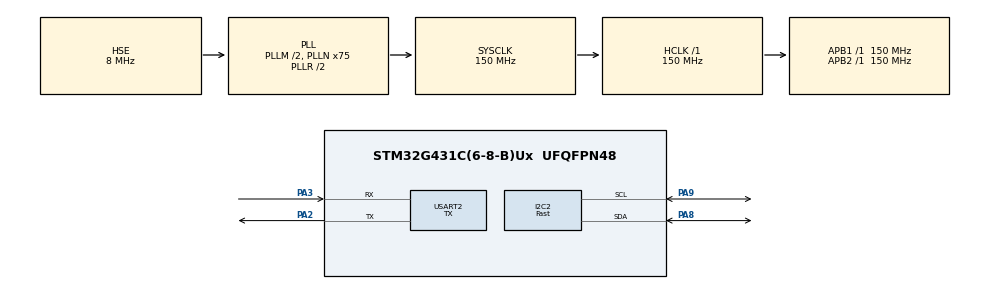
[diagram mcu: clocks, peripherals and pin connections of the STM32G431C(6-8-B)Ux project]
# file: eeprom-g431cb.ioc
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I2C2.I2C_Speed_Mode=I2C_Fast
I2C2.Timing=0x00E063FF
Mcu.Family=STM32G4
Mcu.Name=STM32G431C(6-8-B)Ux
Mcu.Package=UFQFPN48
NVIC.PriorityGroup=NVIC_PRIORITYGROUP_4
PA13.Mode=Serial_Wire
PA13.Signal=SYS_JTMS-SWDIO
PA14.Mode=Serial_Wire
PA14.Signal=SYS_JTCK-SWCLK
PA2.Mode=Asynchronous
PA2.Signal=USART2_TX
PA3.Mode=Asynchronous
PA3.Signal=USART2_RX
PA8.Mode=I2C
PA8.Signal=I2C2_SDA
PA9.Mode=I2C
PA9.Signal=I2C2_SCL
PC14-OSC32_IN.Mode=LSE-External-Oscillator
PC14-OSC32_IN.Signal=RCC_OSC32_IN
PC15-OSC32_OUT.Mode=LSE-External-Oscillator
PC15-OSC32_OUT.Signal=RCC_OSC32_OUT
PF0-OSC_IN.Mode=HSE-External-Oscillator
PF0-OSC_IN.Signal=RCC_OSC_IN
PF1-OSC_OUT.Mode=HSE-External-Oscillator
PF1-OSC_OUT.Signal=RCC_OSC_OUT
ProjectManager.HeapSize=0x200
ProjectManager.StackSize=0x400
ProjectManager.TargetToolchain=STM32CubeIDE
RCC.ADC12Freq_Value=150000000
RCC.AHBFreq_Value=150000000
RCC.APB1Freq_Value=150000000
RCC.APB1TimFreq_Value=150000000
RCC.APB2Freq_Value=150000000
RCC.APB2TimFreq_Value=150000000
RCC.CortexFreq_Value=150000000
RCC.EXTERNAL_CLOCK_VALUE=12288000
RCC.HCLKFreq_Value=150000000
RCC.HSE_VALUE=8000000
RCC.HSI48_VALUE=48000000
RCC.HSI_VALUE=16000000
RCC.PLLM=RCC_PLLM_DIV2
RCC.PLLN=75
RCC.PLLSourceVirtual=RCC_PLLSOURCE_HSE
RCC.SYSCLKFreq_VALUE=150000000
RCC.SYSCLKSource=RCC_SYSCLKSOURCE_PLLCLK
RCC.USBFreq_Value=150000000
RCC.VCOOutputFreq_Value=300000000
USART2.Mode=MODE_TX
USART2.VirtualMode-Asynchronous=VM_ASYNC
board=custom

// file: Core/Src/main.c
/* USER CODE BEGIN Header */
/**
  ******************************************************************************
  * @file           : main.c
  * @brief          : Main program body
  ******************************************************************************
  * @attention
  *
  * Copyright (c) 2024 STMicroelectronics.
  * All rights reserved.
  *
  * This software is licensed under terms that can be found in the LICENSE file
  * in the root directory of this software component.
  * If no LICENSE file comes with this software, it is provided AS-IS.
  *
  ******************************************************************************
  */
/* USER CODE END Header */
#include "main.h"

/* USER CODE BEGIN Includes */
#include "eeprom.h"
/* USER CODE END Includes */

/* USER CODE BEGIN PTD */
struct MyData{
	uint8_t x;
	uint8_t y;
	uint8_t z;
	float A;
};
/* USER CODE END PTD */

/* USER CODE BEGIN PM */
#define EEPROM_SIZE		512
#define PAGE_SIZE		16
#define EEPROM_ADDRESS	0xA0

#define U32_ADDR		14
#define FL_ADDR			(U32_ADDR + sizeof(uint32_t))
#define MD_ADDR			0x100
/* USER CODE END PM */

I2C_HandleTypeDef hi2c2;

UART_HandleTypeDef huart2;

/* USER CODE BEGIN PV */
eeprom_t Eeprom;
/* USER CODE END PV */

void SystemClock_Config(void);
static void MX_GPIO_Init(void);
static void MX_I2C2_Init(void);
static void MX_USART2_UART_Init(void);

/* USER CODE BEGIN 0 */

/** Printing Over Uart **/
int __io_putchar(int ch){
	HAL_UART_Transmit(&huart2, (uint8_t*)&ch, 1, HAL_MAX_DELAY);
	return ch;
}

/** EEPROM Functions for Library **/
eeprom_e EE_Write(uint32_t i2cAddress, uint32_t memAddress, uint8_t memAddrSize, uint8_t *data, uint32_t len){
	HAL_StatusTypeDef Error;

	if (memAddress >= 256){
		i2cAddress |= 0x2;
		memAddress -= 256;
	}
	Error = HAL_I2C_Mem_Write(&hi2c2, i2cAddress, memAddress, memAddrSize, data, len, 100);
	if (Error != HAL_OK){
		return EE_ERROR;
	}

	return EE_OK;
}

eeprom_e EE_Read(uint32_t i2cAddress, uint32_t memAddress, uint8_t memAddrSize, uint8_t *data, uint32_t len){
	HAL_StatusTypeDef Error;

	if (memAddress >= 256){
		i2cAddress |= 0x2;
		memAddress -= 256;
	}
	Error = HAL_I2C_Mem_Read(&hi2c2, i2cAddress, memAddress, memAddrSize, data, len, 100);
	if (Error != HAL_OK){
		return EE_ERROR;
	}

	return EE_OK;
}

/** Test Functions **/
void u32Task(uint32_t *v){
	*v += 1;
}

void flTask(float *v){
	*v += 0.10;
}

void MDTask(struct MyData *v){
	v->x += 1;
	v->y -= 1;
	v->z = 2*v->x;

	v->A = (float)((v->x*1.5 + v->y*0.5)*v->z);
}

void PrintAll(){
	uint32_t u32V;
	float flV;
	struct MyData mdV;

	eeprom_read(&Eeprom, U32_ADDR, (uint8_t*)&u32V, sizeof(u32V));
	eeprom_read(&Eeprom, FL_ADDR, (uint8_t*)&flV, sizeof(flV));
	eeprom_read(&Eeprom, MD_ADDR, (uint8_t*)&mdV, sizeof(struct MyData));

	printf("Valor u32V (Addr 0x%04X) %lu\n", U32_ADDR, u32V);
	printf("Valor flV (Addr 0x%04X) %.3f\n", FL_ADDR, flV);

	printf("Valor mdV (Addr 0x%04X) x=%d y=%d z=%d A=%.3f\n\n",
			MD_ADDR, mdV.x, mdV.y, mdV.z, mdV.A);
}

/* USER CODE END 0 */

int main(void)
{
  /* USER CODE BEGIN 1 */
	uint32_t u32Value;
	float flValue;
	struct MyData MDValue;

	uint32_t bm0, bm1, bm2, bm3;

  /* USER CODE END 1 */

  /* MCU Configuration--------------------------------------------------------*/

  /* Reset of all peripherals, Initializes the Flash interface and the Systick. */
  HAL_Init();

  /* Configure the system clock */
  SystemClock_Config();

  /* Initialize all configured peripherals */
  MX_GPIO_Init();
  MX_I2C2_Init();
  MX_USART2_UART_Init();
  /* USER CODE BEGIN 2 */
  Eeprom.i2cAddress = EEPROM_ADDRESS;
  Eeprom.pageSize = PAGE_SIZE;
  Eeprom.memSize = EEPROM_SIZE;
  Eeprom.memAddrSize = 1;

  Eeprom.DelayMs = HAL_Delay;
  Eeprom.EeReadFxn = EE_Read;
  Eeprom.EeWriteFxn = EE_Write;

  if (eeprom_init(&Eeprom) !=  EE_OK){
	  Error_Handler();
  }
  /* USER CODE END 2 */

  /* Infinite loop */
  /* USER CODE BEGIN WHILE */
  u32Value = 0;
  flValue = 0.0;
  MDValue.x = 0;
  MDValue.y = 0;
  MDValue.z = 0;
  MDValue.A = 0.0;
  while (1)
  {
	  u32Task(&u32Value);
	  flTask(&flValue);
	  MDTask(&MDValue);

	  bm0 = HAL_GetTick();
	  eeprom_write(&Eeprom, U32_ADDR, (uint8_t*)&u32Value, sizeof(u32Value));
	  bm1 = HAL_GetTick() - bm0;

	  bm0 = HAL_GetTick();
	  eeprom_write(&Eeprom, FL_ADDR, (uint8_t*)&flValue, sizeof(flValue));
	  bm2 = HAL_GetTick() - bm0;

	  bm0 = HAL_GetTick();
	  eeprom_write(&Eeprom, MD_ADDR, (uint8_t*)&MDValue, sizeof(struct MyData));
	  bm3 = HAL_GetTick() - bm0;

	  printf(" > Write Process: \n"
			  "BM1 %lu ms\n"
			  "BM2 %lu ms\n"
			  "BM3 %lu ms\n",
			  bm1, bm2, bm3);

	  PrintAll();

	  HAL_Delay(1000);
    /* USER CODE END WHILE */

  }
}

void SystemClock_Config(void)
{
  RCC_OscInitTypeDef RCC_OscInitStruct = {0};
  RCC_ClkInitTypeDef RCC_ClkInitStruct = {0};

  /** Configure the main internal regulator output voltage
  */
  HAL_PWREx_ControlVoltageScaling(PWR_REGULATOR_VOLTAGE_SCALE1);

  /** Initializes the RCC Oscillators according to the specified parameters
  * in the RCC_OscInitTypeDef structure.
  */
  RCC_OscInitStruct.OscillatorType = RCC_OSCILLATORTYPE_HSE;
  RCC_OscInitStruct.HSEState = RCC_HSE_ON;
  RCC_OscInitStruct.PLL.PLLState = RCC_PLL_ON;
  RCC_OscInitStruct.PLL.PLLSource = RCC_PLLSOURCE_HSE;
  RCC_OscInitStruct.PLL.PLLM = RCC_PLLM_DIV2;
  RCC_OscInitStruct.PLL.PLLN = 75;
  RCC_OscInitStruct.PLL.PLLP = RCC_PLLP_DIV2;
  RCC_OscInitStruct.PLL.PLLQ = RCC_PLLQ_DIV2;
  RCC_OscInitStruct.PLL.PLLR = RCC_PLLR_DIV2;
  if (HAL_RCC_OscConfig(&RCC_OscInitStruct) != HAL_OK)
  {
    Error_Handler();
  }

  /** Initializes the CPU, AHB and APB buses clocks
  */
  RCC_ClkInitStruct.ClockType = RCC_CLOCKTYPE_HCLK|RCC_CLOCKTYPE_SYSCLK
                              |RCC_CLOCKTYPE_PCLK1|RCC_CLOCKTYPE_PCLK2;
  RCC_ClkInitStruct.SYSCLKSource = RCC_SYSCLKSOURCE_PLLCLK;
  RCC_ClkInitStruct.AHBCLKDivider = RCC_SYSCLK_DIV1;
  RCC_ClkInitStruct.APB1CLKDivider = RCC_HCLK_DIV1;
  RCC_ClkInitStruct.APB2CLKDivider = RCC_HCLK_DIV1;

  if (HAL_RCC_ClockConfig(&RCC_ClkInitStruct, FLASH_LATENCY_4) != HAL_OK)
  {
    Error_Handler();
  }
}

static void MX_I2C2_Init(void)
{

  hi2c2.Instance = I2C2;
  hi2c2.Init.Timing = 0x00E063FF;
  hi2c2.Init.OwnAddress1 = 0;
  hi2c2.Init.AddressingMode = I2C_ADDRESSINGMODE_7BIT;
  hi2c2.Init.DualAddressMode = I2C_DUALADDRESS_DISABLE;
  hi2c2.Init.OwnAddress2 = 0;
  hi2c2.Init.OwnAddress2Masks = I2C_OA2_NOMASK;
  hi2c2.Init.GeneralCallMode = I2C_GENERALCALL_DISABLE;
  hi2c2.Init.NoStretchMode = I2C_NOSTRETCH_DISABLE;
  if (HAL_I2C_Init(&hi2c2) != HAL_OK)
  {
    Error_Handler();
  }

  /** Configure Analogue filter
  */
  if (HAL_I2CEx_ConfigAnalogFilter(&hi2c2, I2C_ANALOGFILTER_ENABLE) != HAL_OK)
  {
    Error_Handler();
  }

  /** Configure Digital filter
  */
  if (HAL_I2CEx_ConfigDigitalFilter(&hi2c2, 0) != HAL_OK)
  {
    Error_Handler();
  }

}

static void MX_USART2_UART_Init(void)
{

  huart2.Instance = USART2;
  huart2.Init.BaudRate = 115200;
  huart2.Init.WordLength = UART_WORDLENGTH_8B;
  huart2.Init.StopBits = UART_STOPBITS_1;
  huart2.Init.Parity = UART_PARITY_NONE;
  huart2.Init.Mode = UART_MODE_TX;
  huart2.Init.HwFlowCtl = UART_HWCONTROL_NONE;
  huart2.Init.OverSampling = UART_OVERSAMPLING_16;
  huart2.Init.OneBitSampling = UART_ONE_BIT_SAMPLE_DISABLE;
  huart2.Init.ClockPrescaler = UART_PRESCALER_DIV1;
  huart2.AdvancedInit.AdvFeatureInit = UART_ADVFEATURE_NO_INIT;
  if (HAL_UART_Init(&huart2) != HAL_OK)
  {
    Error_Handler();
  }
  if (HAL_UARTEx_SetTxFifoThreshold(&huart2, UART_TXFIFO_THRESHOLD_1_8) != HAL_OK)
  {
    Error_Handler();
  }
  if (HAL_UARTEx_SetRxFifoThreshold(&huart2, UART_RXFIFO_THRESHOLD_1_8) != HAL_OK)
  {
    Error_Handler();
  }
  if (HAL_UARTEx_DisableFifoMode(&huart2) != HAL_OK)
  {
    Error_Handler();
  }

}

static void MX_GPIO_Init(void)
{

  /* GPIO Ports Clock Enable */
  __HAL_RCC_GPIOC_CLK_ENABLE();
  __HAL_RCC_GPIOF_CLK_ENABLE();
  __HAL_RCC_GPIOA_CLK_ENABLE();

}

void Error_Handler(void)
{
  __disable_irq();
  while (1)
  {
  }
}
